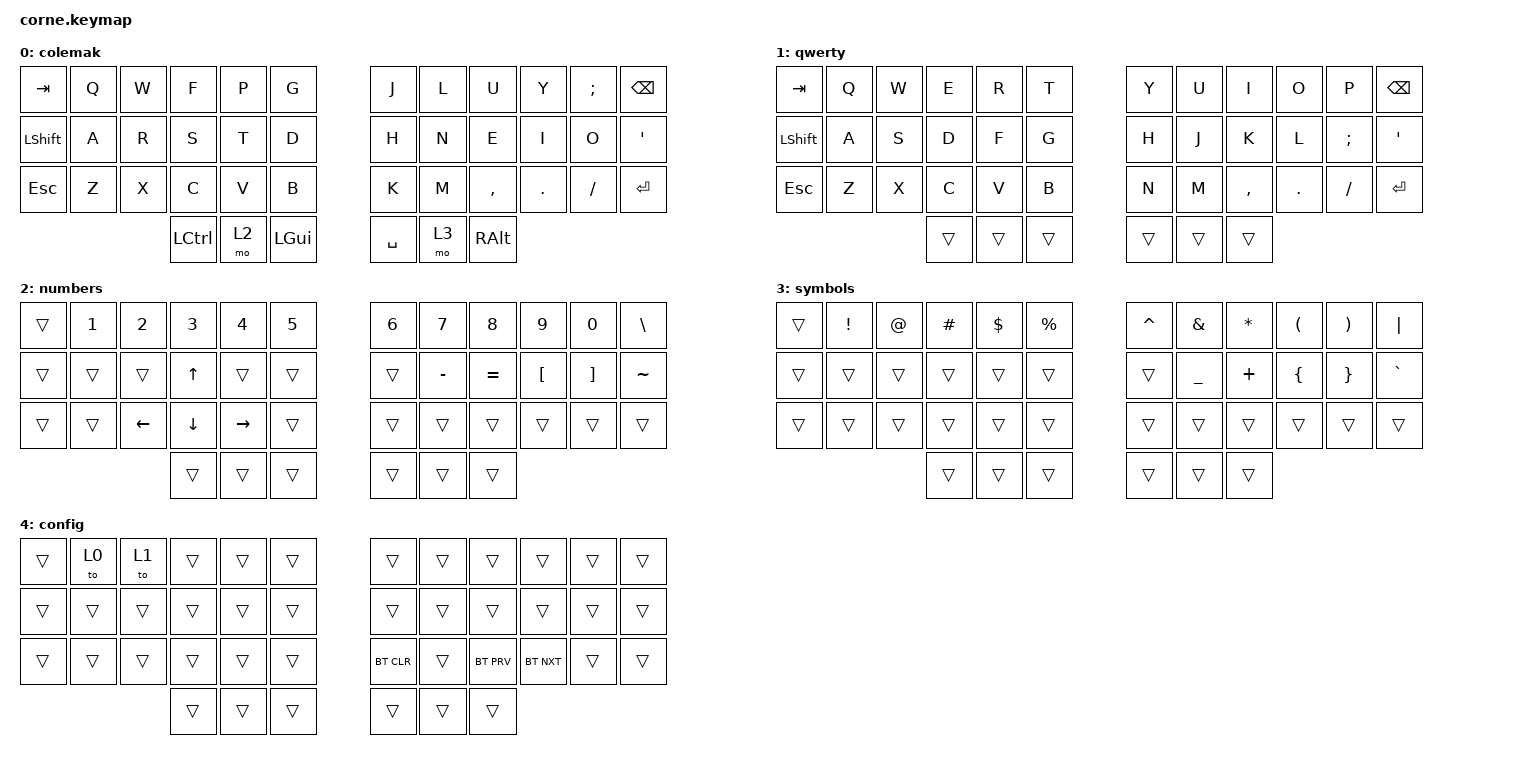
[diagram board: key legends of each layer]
/*
 * Copyright (c) 2020 The ZMK Contributors
 *
 * SPDX-License-Identifier: MIT
 */

#include <behaviors.dtsi>
#include <dt-bindings/zmk/keys.h>
#include <dt-bindings/zmk/bt.h>

/ {
        conditional_layers {
            compatible = "zmk,conditional-layers";
            tri_layer {
                if-layers = <2 3>;
                then-layer = <4>;
            };
        };

        keymap {
                compatible = "zmk,keymap";
                default_layer {
                display-name = "colemak";
// -------------------------------------------------------------------------------------------------------------------------------------
// | TAB     |    Q    |    W    |    F    |    P    |    G    |           |    J    |    L    |    U    |    Y    |    ;    |  BKSP   |
// | SHFT    |    A    |    R    |    S    |    T    |    D    |           |    H    |    N    |    E    |    I    |    O    |    '    |
// | ESC     |    Z    |    X    |    C    |    V    |    B    |           |    K    |    M    |    ,    |    .    |    /    |   RET   |
//                                    |  CTRL   |   LWR   |   GUI   | |   SPC   |   RSE   |   ALT   |
                        bindings = <
    &kp TAB   &kp Q     &kp W     &kp F     &kp P     &kp G                 &kp J     &kp L     &kp U     &kp Y     &kp SEMI     &kp BSPC
    &kp LSHFT &kp A     &kp R     &kp S     &kp T     &kp D                 &kp H     &kp N     &kp E     &kp I     &kp O  &kp SQT
    &kp ESC   &kp Z     &kp X     &kp C     &kp V     &kp B                 &kp K     &kp M     &kp COMMA &kp DOT   &kp FSLH  &kp RET
                                       &kp LCTRL   &mo 2   &kp LGUI   &kp SPACE &mo 3     &kp RALT
                        >;
                };
                qwerty_layer {
                display-name = "qwerty";
// -------------------------------------------------------------------------------------------------------------------------------------
// | TAB     |    Q    |    W    |    E    |    R    |    T    |           |    Y    |    U    |    I    |    O    |    P    |  BKSP   |
// | SHFT    |    A    |    S    |    D    |    F    |    G    |           |    H    |    J    |    K    |    L    |    ;    |    '    |
// | ESC     |    Z    |    X    |    C    |    V    |    B    |           |    N    |    M    |    ,    |    .    |    /    |   RET   |
//                                    |  CTRL   |   LWR   |   GUI   | |   SPC   |   RSE   |   ALT   |
                        bindings = <
    &kp TAB   &kp Q     &kp W     &kp E     &kp R     &kp T                 &kp Y     &kp U     &kp I     &kp O     &kp P     &kp BSPC
    &kp LSHFT &kp A     &kp S     &kp D     &kp F     &kp G                 &kp H     &kp J     &kp K     &kp L     &kp SEMI  &kp SQT
    &kp ESC   &kp Z     &kp X     &kp C     &kp V     &kp B                 &kp N     &kp M     &kp COMMA &kp DOT   &kp FSLH  &kp RET
                                      &trans    &trans    &trans        &trans    &trans    &trans
                        >;
                };
                lower_layer {
                display-name = "numbers";
// ------------------------------------------------------------------------------------------------------------------------------------
// |         |    1    |    2    |    3    |    4    |    5    |           |    6    |    7    |    8    |    9    |    0    |    \    |
// |         |         |         |   UP    |         |         |           |         |    _    |    =    |    [    |    ]    |    ~    |
// |         |         |  LEFT   |   DOWN  |  RIGHT  |         |           |         |         |         |         |         |         |
//                                    |  CTRL   |   LWR   |   GUI   | |   RET   |   RSE   |   ALT   |
                        bindings = <
    &trans    &kp N1   &kp N2    &kp N3    &kp N4    &kp N5                &kp N6    &kp N7    &kp N8    &kp N9    &kp N0    &kp BSLH
    &trans    &trans   &trans    &kp UP    &trans    &trans                &trans    &kp MINUS &kp EQUAL &kp LBKT  &kp RBKT  &kp TILDE
    &trans    &trans   &kp LEFT  &kp DOWN  &kp RIGHT &trans                &trans    &trans    &trans    &trans    &trans    &trans
                                      &trans    &trans    &trans        &trans    &trans    &trans
                        >;
                };

                raise_layer {
                display-name = "symbols";
// ------------------------------------------------------------------------------------------------------------------------------------
// |         |    !    |    @    |    #    |    $    |    %    |           |    ^    |    &    |    *    |    (    |    )    |   "|"   |
// |         |         |         |         |         |         |           |         |    -    |    +    |    {    |    }    |    `    |
// |         |         |         |         |         |         |           |         |         |         |         |         |         |
//                                    |  CTRL   |   LWR   |   BSPC   | |   SPC   |   RSE   |   ALT
                        bindings = <
   &trans     &kp EXCL  &kp AT    &kp HASH  &kp DLLR  &kp PRCNT             &kp CARET  &kp AMPS  &kp ASTRK &kp LPAR  &kp RPAR  &kp PIPE
   &trans     &trans    &trans    &trans    &trans    &trans                &trans     &kp UNDER &kp PLUS  &kp LBRC  &kp RBRC  &kp GRAVE
   &trans     &trans    &trans    &trans    &trans    &trans                &trans     &trans    &trans    &trans    &trans    &trans
                                      &trans    &trans    &trans        &trans    &trans    &trans
                        >;
                };

                config_layer {
                display-name = "config";
// ------------------------------------------------------------------------------------------------------------------------------------
// |         |    !    |    @    |    #    |    $    |    %    |           |    ^    |    &    |    *    |    (    |    )    |   "|"   |
// |         |         |         |         |         |         |           |         |    -    |    +    |    {    |    }    |    `    |
// |         |         |         |         |         |         |           |         |         |         |         |         |         |
//                                    |  CTRL   |   LWR   |   BSPC   | |   SPC   |   RSE   |   ALT
                        bindings = <
    &trans     &to 0     &to 1     &trans    &trans    &trans                &trans      &trans  &trans      &trans      &trans  &trans
    &trans     &trans    &trans    &trans    &trans    &trans                &trans      &trans  &trans      &trans      &trans  &trans
    &trans     &trans    &trans    &trans    &trans    &trans                &bt BT_CLR  &trans  &bt BT_PRV  &bt BT_NXT  &trans  &trans
                                       &trans    &trans    &trans        &trans    &trans    &trans
                        >;
                };
        };
};
